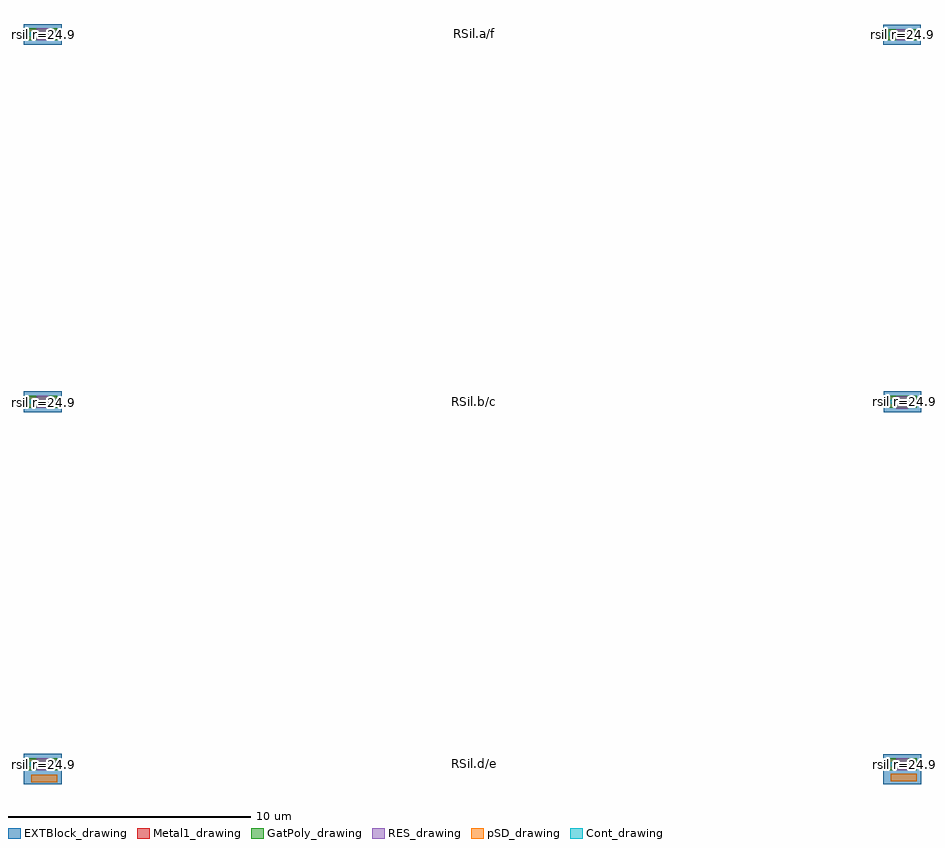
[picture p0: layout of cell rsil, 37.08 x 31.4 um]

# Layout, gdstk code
import gdstk
lib = gdstk.Library(unit=1e-6, precision=1e-09)
def R(c, l, rs):  # rectangles x0, y0, x1, y1
    for r in rs: c.add(gdstk.rectangle(r[:2], r[2:], *l))
GatPoly_drawing = (5, 0)
Cont_drawing = (6, 0)
Metal1_drawing = (8, 0)
pSD_drawing = (14, 0)
RES_drawing = (24, 0)
EXTBlock_drawing = (111, 0)

rsil = lib.new_cell('rsil')
R(rsil, GatPoly_drawing, [(-18.455,-37.6,-17.255,-37.1), (17.06,-37.6,18.26,-37.1), (-18.455,-22.63,-17.255,-22.13), (17.08,-22.63,18.26,-22.13), (-18.455,-7.45,-17.255,-6.95), (17.06,-7.45,18.235,-6.98)])
R(rsil, Cont_drawing, [(-18.385,-37.43,-18.225,-37.27), (-17.485,-37.43,-17.325,-37.27), (17.13,-37.43,17.29,-37.27), (18.03,-37.43,18.19,-37.27), (-18.385,-22.46,-18.225,-22.3), (-17.485,-22.46,-17.325,-22.3), (17.15,-22.46,17.31,-22.3), (18.03,-22.46,18.19,-22.3), (-18.385,-7.28,-18.225,-7.12), (-17.485,-7.28,-17.325,-7.12), (17.13,-7.28,17.29,-7.12), (18.005,-7.28,18.165,-7.12)])
R(rsil, Metal1_drawing, [(-18.455,-37.6,-17.255,-37.1), (17.06,-37.6,18.26,-37.1), (-18.455,-22.63,-17.255,-22.13), (17.08,-22.63,18.26,-22.13), (-18.455,-7.45,-17.255,-6.95), (17.06,-7.45,18.235,-6.98)])
R(rsil, pSD_drawing, [(-18.335,-38.09,-17.255,-37.78), (17.18,-38.06,18.26,-37.75)])
R(rsil, RES_drawing, [(-18.105,-37.6,-17.605,-37.1), (17.41,-37.6,17.91,-37.1), (17.41,-22.66,17.91,-22.15), (-18.105,-22.63,-17.605,-22.13), (-18.105,-7.45,-17.605,-6.95), (17.41,-7.45,17.885,-6.98)])
R(rsil, EXTBlock_drawing, [(-18.635,-38.17,-17.075,-36.92), (16.88,-38.17,18.44,-36.945), (-18.635,-22.81,-17.075,-21.95), (16.9,-22.81,18.44,-21.95), (-18.635,-7.63,-17.075,-6.77), (16.88,-7.63,18.415,-6.8)])
rsil.add(gdstk.Label('rsil r=24.9', (17.67,-7.195), layer=63, texttype=0))
rsil.add(gdstk.Label('rsil r=24.9', (-17.83,-7.195), layer=63, texttype=0))
rsil.add(gdstk.Label('rsil r=24.9', (-17.83,-22.39), layer=63, texttype=0))
rsil.add(gdstk.Label('rsil r=24.9', (-17.83,-37.345), layer=63, texttype=0))
rsil.add(gdstk.Label('rsil r=24.9', (17.745,-37.345), layer=63, texttype=0))
rsil.add(gdstk.Label('rsil r=24.9', (17.745,-22.375), layer=63, texttype=0))
rsil.add(gdstk.Label('RSil.a/f', (0,-7.17), layer=63, texttype=0))
rsil.add(gdstk.Label('RSil.b/c', (0,-22.35), layer=63, texttype=0))
rsil.add(gdstk.Label('RSil.d/e', (0,-37.32), layer=63, texttype=0))
rsil.add(gdstk.Label('PASS', (-12,5), layer=63, texttype=0))
rsil.add(gdstk.Label('FAIL', (12,5), layer=63, texttype=0))
rsil.add(gdstk.Label('6.2 Rsil', (0,21), layer=63, texttype=0))

lib.write_gds('rsil.gds')
